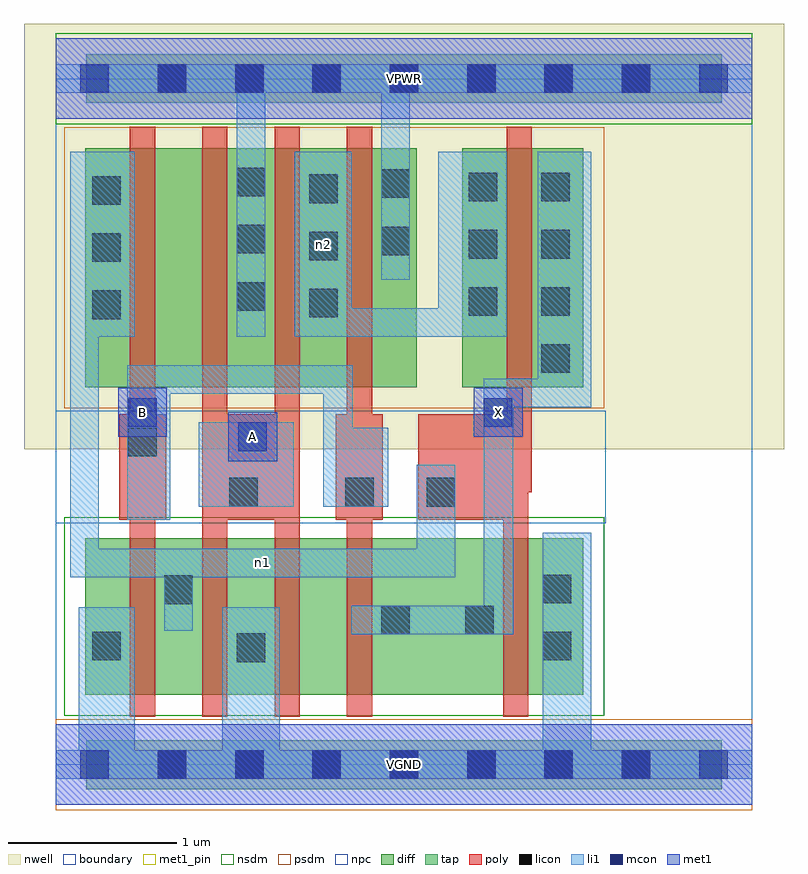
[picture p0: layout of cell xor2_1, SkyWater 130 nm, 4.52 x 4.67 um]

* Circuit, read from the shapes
.subckt xor2_1 A B VGND VPWR X n1 n2
XM1 n1 B VGND VGND sky130_fd_pr__nfet_01v8 w=0.93 l=0.15
XM2 VGND A n1 VGND sky130_fd_pr__nfet_01v8 w=0.93 l=0.15
XM3 n3 A VGND VGND sky130_fd_pr__nfet_01v8 w=0.93 l=0.15
XM4 X B n3 VGND sky130_fd_pr__nfet_01v8 w=0.93 l=0.15
XM5 VGND n1 X VGND sky130_fd_pr__nfet_01v8 w=0.93 l=0.15
XM6 n4 B n1 VPWR sky130_fd_pr__pfet_01v8 w=1.42 l=0.15
XM7 VPWR A n4 VPWR sky130_fd_pr__pfet_01v8 w=1.42 l=0.15
XM8 n2 A VPWR VPWR sky130_fd_pr__pfet_01v8 w=1.42 l=0.15
XM9 VPWR B n2 VPWR sky130_fd_pr__pfet_01v8 w=1.42 l=0.15
XM10 X n1 n2 VPWR sky130_fd_pr__pfet_01v8 w=1.42 l=0.15
.ends

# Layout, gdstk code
import gdstk
lib = gdstk.Library(unit=1e-6, precision=1e-09)
def R(c, l, rs):  # rectangles x0, y0, x1, y1
    for r in rs: c.add(gdstk.rectangle(r[:2], r[2:], *l))
def A(c, l, x, y, w, h, nx, ny, dx, dy):  # array of equal rectangles
    R(c, l, [(x+i*dx, y+j*dy, x+i*dx+w, y+j*dy+h) for i in range(nx) for j in range(ny)])
nwell = (64, 20)
diff = (65, 20)
tap = (65, 44)
poly = (66, 20)
licon = (66, 44)
li1 = (67, 20)
mcon = (67, 44)
met1_pin = (68, 16)
met1 = (68, 20)
nsdm = (93, 44)
psdm = (94, 20)
npc = (95, 20)
boundary = (235, 4)

xor2_1 = lib.new_cell('xor2_1')
R(xor2_1, nwell, [(-0.19,1.875,4.33,4.405), (0,1.875,4.14,4.405)])
R(xor2_1, diff, [(0.175,0.415,3.135,1.345), (0.175,2.245,2.145,3.665), (2.415,2.245,3.135,3.665)])
R(xor2_1, tap, [(0.18,-0.145,3.96,0.145), (0.18,3.935,3.96,4.225)])
A(xor2_1, poly, 0.44, 0.285, 0.15, 3.51, 4, 1, 0.43, 0)
R(xor2_1, poly, [(2.66,0.285,2.81,2.085), (0.375,1.455,0.655,2.085), (0.87,1.455,1.45,2.085), (1.665,1.455,1.945,2.085), (2.155,1.455,2.81,2.085), (2.68,1.62,2.83,3.795)])
A(xor2_1, licon, 0.605, -0.085, 0.17, 0.17, 7, 2, 0.46, 4.08)
A(xor2_1, licon, 2.885, 2.33, 0.17, 0.17, 1, 4, 0, 0.34)
A(xor2_1, licon, 0.215, 2.65, 0.17, 0.17, 1, 3, 0, 0.34)
A(xor2_1, licon, 1.505, 2.66, 0.17, 0.17, 1, 3, 0, 0.34)
A(xor2_1, licon, 2.455, 2.67, 0.17, 0.17, 1, 3, 0, 0.34)
A(xor2_1, licon, 1.075, 2.7, 0.17, 0.17, 1, 3, 0, 0.34)
R(xor2_1, licon, [(1.075,0.61,1.245,0.78), (0.215,0.62,0.385,0.79), (2.895,0.62,3.065,0.79), (1.935,0.775,2.105,0.945), (2.435,0.775,2.605,0.945), (0.645,0.955,0.815,1.125), (2.895,0.96,3.065,1.13), (1.03,1.535,1.2,1.705), (1.72,1.535,1.89,1.705), (2.205,1.535,2.375,1.705), (0.43,1.835,0.6,2.005), (1.935,3.03,2.105,3.2), (1.935,3.37,2.105,3.54)])
R(xor2_1, li1, [(0,-0.085,4.14,0.085), (0.135,-0.085,0.47,0.935), (0.99,-0.085,1.33,0.935), (2.895,-0.085,3.185,1.38), (1.755,0.775,2.72,0.945), (2.545,0.775,2.72,2.295), (0.645,0.795,0.815,1.285), (0.085,1.115,2.375,1.285), (0.085,1.115,0.255,3.645), (2.145,1.115,2.375,1.785), (0.425,1.455,0.68,2.375), (0.85,1.535,1.415,2.035), (1.59,1.535,1.975,2.005), (1.59,1.535,1.765,2.375), (2.545,2.125,3.185,2.295), (2.865,2.125,3.185,3.645), (0.425,2.205,1.765,2.375), (0.085,2.545,0.47,3.645), (1.075,2.545,1.245,4.165), (1.42,2.545,1.76,3.645), (1.42,2.545,2.68,2.715), (2.275,2.545,2.68,3.645), (1.935,2.885,2.105,4.165), (0,3.995,4.14,4.165)])
A(xor2_1, mcon, 0.145, -0.085, 0.17, 0.17, 9, 2, 0.46, 4.08)
R(xor2_1, mcon, [(1.085,1.865,1.255,2.035), (0.43,2.01,0.6,2.18), (2.545,2.01,2.715,2.18)])
R(xor2_1, met1_pin, [(0,-0.24,4.14,0.24), (1.025,1.805,1.315,2.095), (0.37,1.95,0.66,2.24), (2.485,1.95,2.775,2.24), (0,3.84,4.14,4.32)])
R(xor2_1, met1, [(0,-0.24,4.14,0.24), (1.025,1.805,1.315,2.095), (0.37,1.95,0.66,2.24), (2.485,1.95,2.775,2.24), (0,3.84,4.14,4.32)])
R(xor2_1, nsdm, [(0.05,0.29,3.26,1.47), (0,3.81,4.14,4.35)])
R(xor2_1, psdm, [(0,-0.27,4.14,0.27), (0.05,2.12,3.26,3.79)])
R(xor2_1, npc, [(0,1.435,3.27,2.105)])
R(xor2_1, boundary, [(0,0,4.14,4.08)])
xor2_1.add(gdstk.Label('n1', (1.23,1.2), layer=67, texttype=5))
xor2_1.add(gdstk.Label('n2', (1.59,3.095), layer=67, texttype=5))
xor2_1.add(gdstk.Label('A', (1.17,1.95), layer=68, texttype=5))
xor2_1.add(gdstk.Label('B', (0.515,2.095), layer=68, texttype=5))
xor2_1.add(gdstk.Label('X', (2.63,2.095), layer=68, texttype=5))
xor2_1.add(gdstk.Label('VPWR', (2.07,4.08), layer=68, texttype=5))
xor2_1.add(gdstk.Label('VGND', (2.07,0), layer=68, texttype=5))
xor2_1.add(gdstk.Label('A', (1.17,1.95), layer=68, texttype=16))
xor2_1.add(gdstk.Label('B', (0.515,2.095), layer=68, texttype=16))
xor2_1.add(gdstk.Label('X', (2.63,2.095), layer=68, texttype=16))
xor2_1.add(gdstk.Label('VPWR', (2.07,4.08), layer=68, texttype=16))
xor2_1.add(gdstk.Label('VGND', (2.07,0), layer=68, texttype=16))

lib.write_gds('xor2_1.gds')
